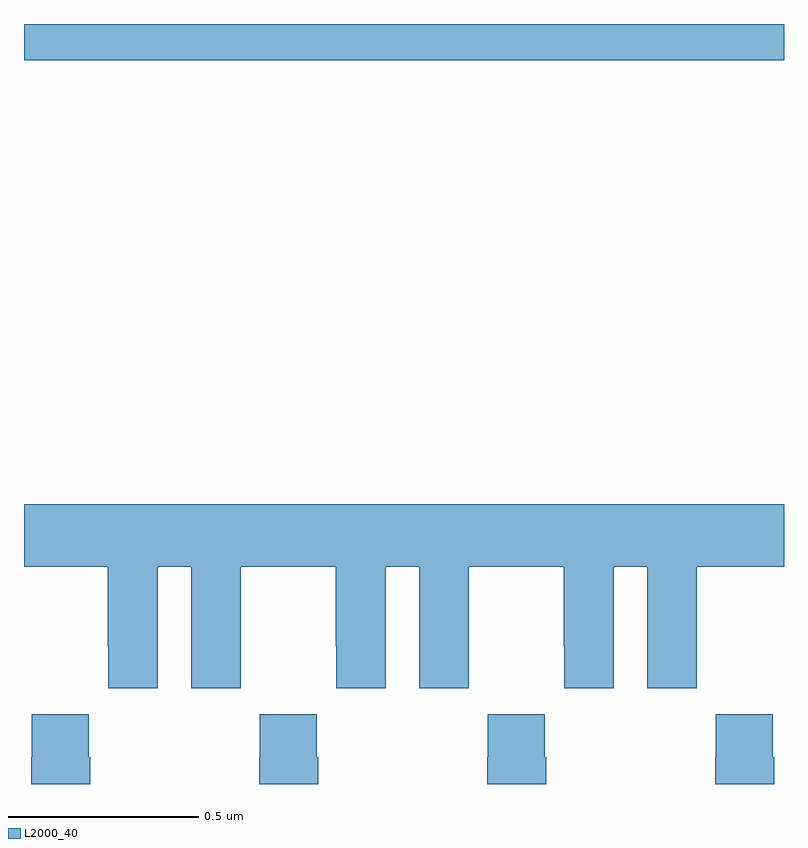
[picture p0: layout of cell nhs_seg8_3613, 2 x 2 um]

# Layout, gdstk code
import gdstk
lib = gdstk.Library(unit=1e-6, precision=1e-09)
def R(c, l, rs):  # rectangles x0, y0, x1, y1
    for r in rs: c.add(gdstk.rectangle(r[:2], r[2:], *l))
def P(c, l, *ps):  # polygons
    for p in ps: c.add(gdstk.Polygon(p, *l))
L2000_40 = (2000, 40)

nhs_seg8_3613 = lib.new_cell('nhs_seg8_3613')
R(nhs_seg8_3613, L2000_40, [(159,1145.804,161,1145.9)])
P(nhs_seg8_3613, L2000_40, [(159.352,1144.472),(159.44,1144.472),(159.44,1144.152),(159.57,1144.152),(159.57,1144.264),(159.571,1144.264),(159.571,1144.472),(159.821,1144.472),(159.821,1144.264),(159.822,1144.264),(159.822,1144.152),(159.952,1144.152),(159.952,1144.472),(160.04,1144.472),(160.04,1144.152),(160.17,1144.152),(160.17,1144.264),(160.171,1144.264),(160.171,1144.472),(160.421,1144.472),(160.421,1144.264),(160.422,1144.264),(160.422,1144.152),(160.552,1144.152),(160.552,1144.472),(160.64,1144.472),(160.64,1144.152),(160.77,1144.152),(160.77,1144.264),(160.771,1144.264),(160.771,1144.472),(161,1144.472),(161,1144.636),(159,1144.636),(159,1144.472),(159.221,1144.472),(159.221,1144.264),(159.222,1144.264),(159.222,1144.152),(159.352,1144.152)],
  [(160.374,1143.971),(160.371,1143.971),(160.371,1144.084),(160.221,1144.084),(160.221,1143.971),(160.219,1143.971),(160.219,1143.9),(160.374,1143.9)],
  [(159.174,1143.971),(159.171,1143.971),(159.171,1144.084),(159.021,1144.084),(159.021,1143.971),(159.019,1143.971),(159.019,1143.9),(159.174,1143.9)],
  [(159.774,1143.971),(159.771,1143.971),(159.771,1144.084),(159.621,1144.084),(159.621,1143.971),(159.619,1143.971),(159.619,1143.9),(159.774,1143.9)],
  [(160.974,1143.971),(160.971,1143.971),(160.971,1144.084),(160.821,1144.084),(160.821,1143.971),(160.819,1143.971),(160.819,1143.9),(160.974,1143.9)])

lib.write_gds('nhs_seg8_3613.gds')
